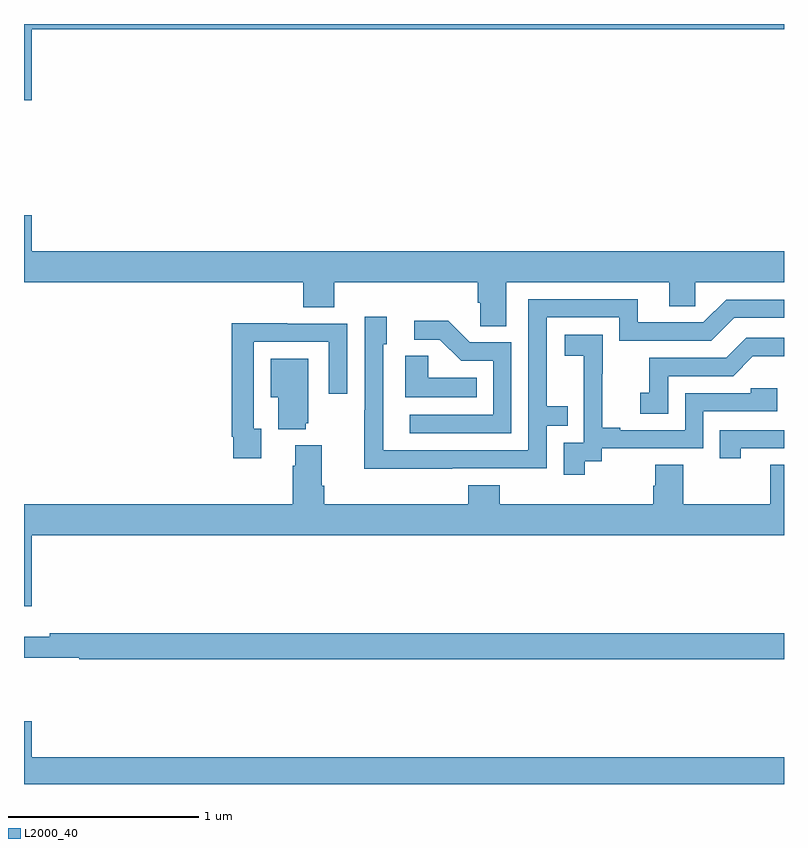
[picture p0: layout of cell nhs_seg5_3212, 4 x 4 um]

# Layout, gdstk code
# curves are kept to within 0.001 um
import gdstk
lib = gdstk.Library(unit=1e-6, precision=1e-09)
def P(c, l, *ps):  # polygons
    for p in ps: c.add(gdstk.Polygon(p, *l))
L2000_40 = (2000, 40)

nhs_seg5_3212 = lib.new_cell('nhs_seg5_3212')
P(nhs_seg5_3212, L2000_40, [(297.04,844.772),(301,844.772),(301,844.799),(297,844.799),(297,844.398),(297.04,844.398)],
  [(299.539,843.44),(300.395,843.44),(300.395,843.313),(300.534,843.313),(300.534,843.44),(301,843.44),(301,843.604),(297.04,843.604),(297.04,843.793),(297,843.793),(297,843.44),(298.469,843.44),(298.469,843.307),(298.634,843.307),(298.634,843.44),(299.387,843.44),(299.387,843.331),(299.4,843.331),(299.4,843.208),(299.539,843.208)],
  [(299.255,842.46),(299.751,842.46),(299.751,842.685),(299.861,842.685),(299.861,842.786),(299.751,842.786),(299.751,843.255),(300.132,843.255),(300.132,843.132),(300.618,843.132),(300.738,843.252),(301,843.252),(301,843.348),(300.696,843.348),(300.576,843.228),(300.229,843.228),(300.229,843.351),(299.655,843.351),(299.655,842.556),(298.89,842.556),(298.89,843.114),(298.909,843.114),(298.909,843.259),(298.794,843.259),(298.794,842.765),(298.792,842.765),(298.792,842.459)],
  [(299.565,843.123),(299.346,843.123),(299.233,843.236),(299.055,843.236),(299.055,843.138),(299.189,843.138),(299.3,843.027),(299.469,843.027),(299.469,842.742),(299.031,842.742),(299.031,842.646),(299.565,842.646)],
  [(298.249,842.67),(298.209,842.67),(298.209,843.126),(298.605,843.126),(298.605,842.853),(298.701,842.853),(298.701,843.222),(298.385,843.222),(298.385,843.224),(298.093,843.224),(298.093,842.626),(298.101,842.626),(298.101,842.514),(298.249,842.514)],
  [(299.95,842.497),(300.042,842.497),(300.042,842.565),(300.576,842.565),(300.576,842.76),(300.965,842.76),(300.965,842.883),(300.825,842.883),(300.825,842.856),(300.48,842.856),(300.48,842.661),(300.139,842.661),(300.139,842.674),(300.044,842.674),(300.044,842.957),(300.045,842.957),(300.045,843.163),(299.847,843.163),(299.847,843.053),(299.945,843.053),(299.945,842.825),(299.946,842.825),(299.946,842.595),(299.841,842.595),(299.841,842.427),(299.95,842.427)],
  [(300.39,842.946),(300.732,842.946),(300.836,843.05),(301,843.05),(301,843.147),(300.8,843.147),(300.695,843.042),(300.292,843.042),(300.292,842.857),(300.243,842.857),(300.243,842.748),(300.39,842.748)],
  [(299.384,842.938),(299.127,842.938),(299.127,843.053),(299.006,843.053),(299.006,842.834),(299.384,842.834)],
  [(298.484,842.697),(298.495,842.697),(298.495,843.037),(298.298,843.037),(298.298,842.834),(298.337,842.834),(298.337,842.666),(298.484,842.666)],
  [(300.772,842.565),(301,842.565),(301,842.661),(300.661,842.661),(300.661,842.514),(300.772,842.514)],
  [(297.04,842.108),(301,842.108),(301,842.48),(300.928,842.48),(300.928,842.272),(300.471,842.272),(300.471,842.48),(300.323,842.48),(300.323,842.37),(300.311,842.37),(300.311,842.272),(299.504,842.272),(299.504,842.371),(299.339,842.371),(299.339,842.272),(298.58,842.272),(298.58,842.368),(298.567,842.368),(298.567,842.581),(298.427,842.581),(298.427,842.474),(298.415,842.474),(298.415,842.272),(297,842.272),(297,841.734),(297.04,841.734)],
  [(301,841.592),(297.136,841.592),(297.136,841.573),(297,841.573),(297,841.464),(297.29,841.464),(297.29,841.456),(301,841.456)],
  [(301,840.94),(297.04,840.94),(297.04,841.129),(297,841.129),(297,840.799),(301,840.799)])

lib.write_gds('nhs_seg5_3212.gds')
